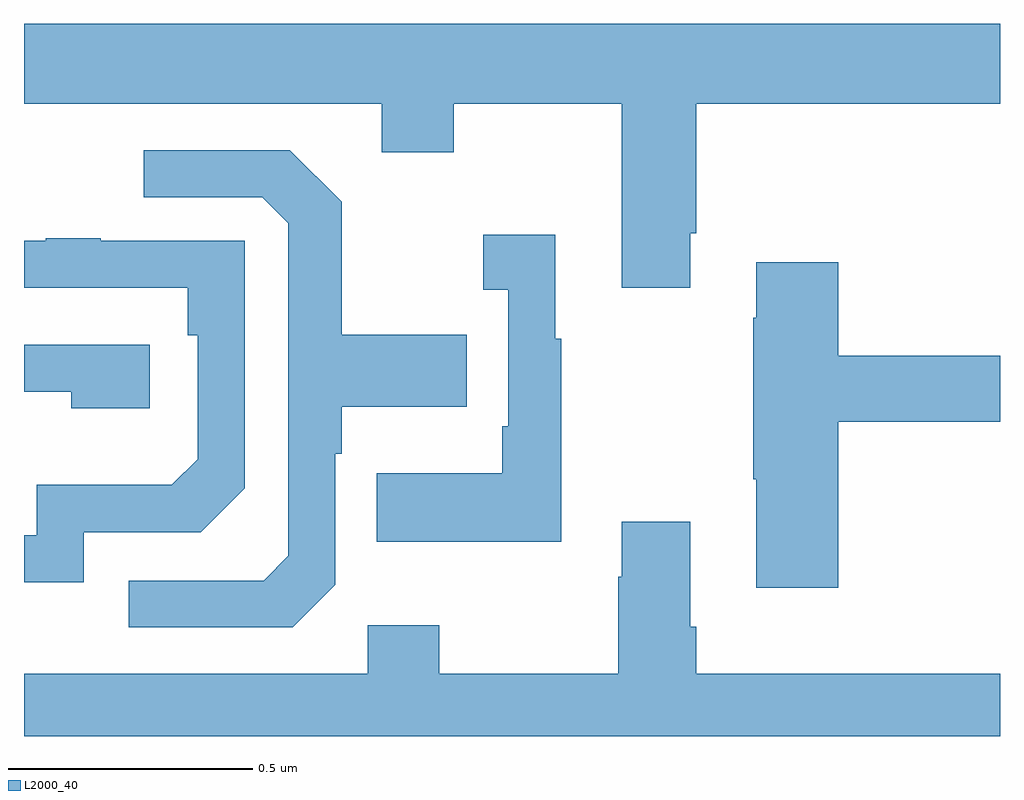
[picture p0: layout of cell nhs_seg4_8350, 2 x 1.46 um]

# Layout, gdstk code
import gdstk
lib = gdstk.Library(unit=1e-6, precision=1e-09)
def P(c, l, *ps):  # polygons
    for p in ps: c.add(gdstk.Polygon(p, *l))
L2000_40 = (2000, 40)

nhs_seg4_8350 = lib.new_cell('nhs_seg4_8350')
P(nhs_seg4_8350, L2000_40, [(215.365,753.931),(215.378,753.931),(215.378,754.196),(216,754.196),(216,754.36),(214,754.36),(214,754.196),(214.733,754.196),(214.733,754.097),(214.881,754.097),(214.881,754.196),(215.225,754.196),(215.225,753.819),(215.365,753.819)],
  [(214.638,753.21),(214.638,753.479),(214.651,753.479),(214.651,753.575),(214.907,753.575),(214.907,753.723),(214.651,753.723),(214.651,753.995),(214.545,754.101),(214.245,754.101),(214.245,754.005),(214.488,754.005),(214.542,753.951),(214.542,753.27),(214.491,753.219),(214.215,753.219),(214.215,753.123),(214.551,753.123)],
  [(215.101,753.715),(215.089,753.715),(215.089,753.928),(214.941,753.928),(214.941,753.815),(214.992,753.815),(214.992,753.535),(214.98,753.535),(214.98,753.439),(214.723,753.439),(214.723,753.299),(215.101,753.299)],
  [(214.122,753.318),(214.362,753.318),(214.452,753.408),(214.452,753.915),(214.157,753.915),(214.157,753.92),(214.045,753.92),(214.045,753.915),(214,753.915),(214,753.819),(214.336,753.819),(214.336,753.722),(214.356,753.722),(214.356,753.468),(214.303,753.415),(214.026,753.415),(214.026,753.312),(214,753.312),(214,753.216),(214.122,753.216)],
  [(215.669,753.544),(216,753.544),(216,753.68),(215.669,753.68),(215.669,753.871),(215.501,753.871),(215.501,753.758),(215.494,753.758),(215.494,753.427),(215.501,753.427),(215.501,753.204),(215.669,753.204)],
  [(214.258,753.702),(214,753.702),(214,753.606),(214.097,753.606),(214.097,753.572),(214.258,753.572)],
  [(216,753.028),(215.378,753.028),(215.378,753.124),(215.365,753.124),(215.365,753.34),(215.225,753.34),(215.225,753.227),(215.218,753.227),(215.218,753.028),(214.851,753.028),(214.851,753.127),(214.704,753.127),(214.704,753.028),(214,753.028),(214,752.9),(216,752.9)])

lib.write_gds('nhs_seg4_8350.gds')
